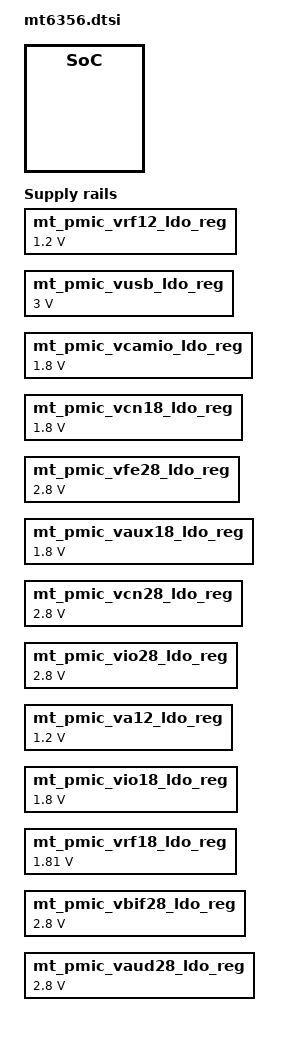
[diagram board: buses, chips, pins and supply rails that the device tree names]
/*
 * Mediatek's MT6356 PMIC device tree source
 *
 * Copyright (c) 2016 MediaTek Co., Ltd.
 *              http://www.mediatek.com
 *
 */

/ {
mt_pmic_regulator {
	compatible = "mediatek,mt_pmic";
	buck_regulators {
		compatible = "mediatek,mt_pmic_buck_regulators";
		mt_pmic_vs1_buck_reg: buck_vs1 {
			regulator-name = "vs1";
			regulator-min-microvolt = <1200000>;
			regulator-max-microvolt = <2787500>;
			regulator-ramp-delay = <12500>;
			regulator-enable-ramp-delay = <1000>;
		};
		mt_pmic_vmodem_buck_reg: buck_vmodem {
			regulator-name = "vmodem";
			regulator-min-microvolt = <500000>;
			regulator-max-microvolt = <1293750>;
			regulator-ramp-delay = <6250>;
			regulator-enable-ramp-delay = <1000>;
		};
		mt_pmic_vcore_buck_reg: buck_vcore {
			regulator-name = "vcore";
			regulator-min-microvolt = <500000>;
			regulator-max-microvolt = <1293750>;
			regulator-ramp-delay = <6250>;
			regulator-enable-ramp-delay = <1000>;
		};
		mt_pmic_vproc_buck_reg: buck_vproc {
			regulator-name = "vproc";
			regulator-min-microvolt = <500000>;
			regulator-max-microvolt = <1293750>;
			regulator-ramp-delay = <6250>;
			regulator-enable-ramp-delay = <1000>;
		};
		mt_pmic_vs2_buck_reg: buck_vs2 {
			regulator-name = "vs2";
			regulator-min-microvolt = <1200000>;
			regulator-max-microvolt = <2787500>;
			regulator-ramp-delay = <12500>;
			regulator-enable-ramp-delay = <1000>;
		};
		mt_pmic_vpa_buck_reg: buck_vpa {
			regulator-name = "vpa";
			regulator-min-microvolt = <500000>;
			regulator-max-microvolt = <3650000>;
			regulator-ramp-delay = <50000>;
			regulator-enable-ramp-delay = <1000>;
		};
	};	/* End of buck_regulators */
	ldo_regulators {
		compatible = "mediatek,mt_pmic_ldo_regulators";
		mt_pmic_vsim1_ldo_reg: ldo_vsim1 {
			regulator-name = "vsim1";
			regulator-min-microvolt = <1700000>;
			regulator-max-microvolt = <3100000>;
			regulator-enable-ramp-delay = <264>;
		};
		mt_pmic_vibr_ldo_reg: ldo_vibr {
			regulator-name = "vibr";
			regulator-min-microvolt = <1200000>;
			regulator-max-microvolt = <3300000>;
			regulator-enable-ramp-delay = <110>;
		};
		mt_pmic_vrf12_ldo_reg: ldo_vrf12 {
			compatible = "regulator-fixed";
			regulator-name = "vrf12";
			regulator-min-microvolt = <1200000>;
			regulator-max-microvolt = <1200000>;
			regulator-enable-ramp-delay = <220>;
		};
		mt_pmic_vusb_ldo_reg: ldo_vusb {
			compatible = "regulator-fixed";
			regulator-name = "vusb";
			regulator-min-microvolt = <3000000>;
			regulator-max-microvolt = <3000000>;
			regulator-enable-ramp-delay = <264>;
		};
		mt_pmic_vcamio_ldo_reg: ldo_vcamio {
			compatible = "regulator-fixed";
			regulator-name = "vcamio";
			regulator-min-microvolt = <1800000>;
			regulator-max-microvolt = <1800000>;
			regulator-enable-ramp-delay = <264>;
		};
		mt_pmic_vcama_ldo_reg: ldo_vcama {
			regulator-name = "vcama";
			regulator-min-microvolt = <2500000>;
			regulator-max-microvolt = <2800000>;
			regulator-enable-ramp-delay = <264>;
		};
		mt_pmic_vcamd_ldo_reg: ldo_vcamd {
			regulator-name = "vcamd";
			regulator-min-microvolt = <1000000>;
			regulator-max-microvolt = <1800000>;
			regulator-enable-ramp-delay = <264>;
		};
		mt_pmic_vcn18_ldo_reg: ldo_vcn18 {
			compatible = "regulator-fixed";
			regulator-name = "vcn18";
			regulator-min-microvolt = <1800000>;
			regulator-max-microvolt = <1800000>;
			regulator-enable-ramp-delay = <264>;
		};
		mt_pmic_vfe28_ldo_reg: ldo_vfe28 {
			compatible = "regulator-fixed";
			regulator-name = "vfe28";
			regulator-min-microvolt = <2800000>;
			regulator-max-microvolt = <2800000>;
			regulator-enable-ramp-delay = <110>;
		};
		mt_pmic_vaux18_ldo_reg: ldo_vaux18 {
			compatible = "regulator-fixed";
			regulator-name = "vaux18";
			regulator-min-microvolt = <1800000>;
			regulator-max-microvolt = <1800000>;
			regulator-enable-ramp-delay = <264>;
		};
		mt_pmic_vmipi_ldo_reg: ldo_vmipi {
			regulator-name = "vmipi";
			regulator-min-microvolt = <1700000>;
			regulator-max-microvolt = <1800000>;
			regulator-enable-ramp-delay = <264>;
		};
		mt_pmic_vcn28_ldo_reg: ldo_vcn28 {
			compatible = "regulator-fixed";
			regulator-name = "vcn28";
			regulator-min-microvolt = <2800000>;
			regulator-max-microvolt = <2800000>;
			regulator-enable-ramp-delay = <264>;
		};
		mt_pmic_vsram_others_ldo_reg: ldo_vsram_others {
			regulator-name = "vsram_others";
			regulator-min-microvolt = <500000>;
			regulator-max-microvolt = <1293750>;
			regulator-ramp-delay = <6250>;
			regulator-enable-ramp-delay = <110>;
		};
		mt_pmic_vsram_gpu_ldo_reg: ldo_vsram_gpu {
			regulator-name = "vsram_gpu";
			regulator-min-microvolt = <500000>;
			regulator-max-microvolt = <1293750>;
			regulator-ramp-delay = <6250>;
			regulator-enable-ramp-delay = <110>;
		};
		mt_pmic_vsram_proc_ldo_reg: ldo_vsram_proc {
			regulator-name = "vsram_proc";
			regulator-min-microvolt = <500000>;
			regulator-max-microvolt = <1293750>;
			regulator-ramp-delay = <6250>;
			regulator-enable-ramp-delay = <110>;
		};
		mt_pmic_vxo22_ldo_reg: ldo_vxo22 {
			regulator-name = "vxo22";
			regulator-min-microvolt = <2200000>;
			regulator-max-microvolt = <2400000>;
			regulator-enable-ramp-delay = <110>;
		};
		mt_pmic_vmch_ldo_reg: ldo_vmch {
			regulator-name = "vmch";
			regulator-min-microvolt = <2900000>;
			regulator-max-microvolt = <3300000>;
			regulator-enable-ramp-delay = <36>;
		};
		mt_pmic_vemc_ldo_reg: ldo_vemc {
			regulator-name = "vemc";
			regulator-min-microvolt = <2900000>;
			regulator-max-microvolt = <3300000>;
			regulator-enable-ramp-delay = <264>;
		};
		mt_pmic_vio28_ldo_reg: ldo_vio28 {
			compatible = "regulator-fixed";
			regulator-name = "vio28";
			regulator-min-microvolt = <2800000>;
			regulator-max-microvolt = <2800000>;
			regulator-enable-ramp-delay = <264>;
		};
		mt_pmic_va12_ldo_reg: ldo_va12 {
			compatible = "regulator-fixed";
			regulator-name = "va12";
			regulator-min-microvolt = <1200000>;
			regulator-max-microvolt = <1200000>;
			regulator-enable-ramp-delay = <264>;
		};
		mt_pmic_vio18_ldo_reg: ldo_vio18 {
			compatible = "regulator-fixed";
			regulator-name = "vio18";
			regulator-min-microvolt = <1800000>;
			regulator-max-microvolt = <1800000>;
			regulator-enable-ramp-delay = <264>;
		};
		mt_pmic_vrf18_ldo_reg: ldo_vrf18 {
			compatible = "regulator-fixed";
			regulator-name = "vrf18";
			regulator-min-microvolt = <1810000>;
			regulator-max-microvolt = <1810000>;
			regulator-enable-ramp-delay = <220>;
		};
		mt_pmic_vcn33_bt_ldo_reg: ldo_vcn33_bt {
			regulator-name = "vcn33_bt";
			regulator-min-microvolt = <3300000>;
			regulator-max-microvolt = <3500000>;
			regulator-enable-ramp-delay = <264>;
		};
		mt_pmic_vcn33_wifi_ldo_reg: ldo_vcn33_wifi {
			regulator-name = "vcn33_wifi";
			regulator-min-microvolt = <3300000>;
			regulator-max-microvolt = <3500000>;
			regulator-enable-ramp-delay = <264>;
		};
		mt_pmic_vbif28_ldo_reg: ldo_vbif28 {
			compatible = "regulator-fixed";
			regulator-name = "vbif28";
			regulator-min-microvolt = <2800000>;
			regulator-max-microvolt = <2800000>;
			regulator-enable-ramp-delay = <264>;
		};
		mt_pmic_vmc_ldo_reg: ldo_vmc {
			regulator-name = "vmc";
			regulator-min-microvolt = <2800000>;
			regulator-max-microvolt = <3300000>;
			regulator-enable-ramp-delay = <36>;
		};
		mt_pmic_vdram_ldo_reg: ldo_vdram {
			regulator-name = "vdram";
			regulator-min-microvolt = <1100000>;
			regulator-max-microvolt = <1200000>;
			regulator-enable-ramp-delay = <264>;
		};
		mt_pmic_vldo28_ldo_reg: ldo_vldo28 {
			regulator-name = "vldo28";
			regulator-min-microvolt = <2800000>;
			regulator-max-microvolt = <3000000>;
			regulator-enable-ramp-delay = <264>;
		};
		mt_pmic_vaud28_ldo_reg: ldo_vaud28 {
			compatible = "regulator-fixed";
			regulator-name = "vaud28";
			regulator-min-microvolt = <2800000>;
			regulator-max-microvolt = <2800000>;
			regulator-enable-ramp-delay = <264>;
		};
		mt_pmic_vsim2_ldo_reg: ldo_vsim2 {
			regulator-name = "vsim2";
			regulator-min-microvolt = <2800000>;
			regulator-max-microvolt = <3100000>;
			regulator-enable-ramp-delay = <264>;
		};
	};	/* End of ldo_regulators */
};	/* End of mt_pmic_regulator */
};
